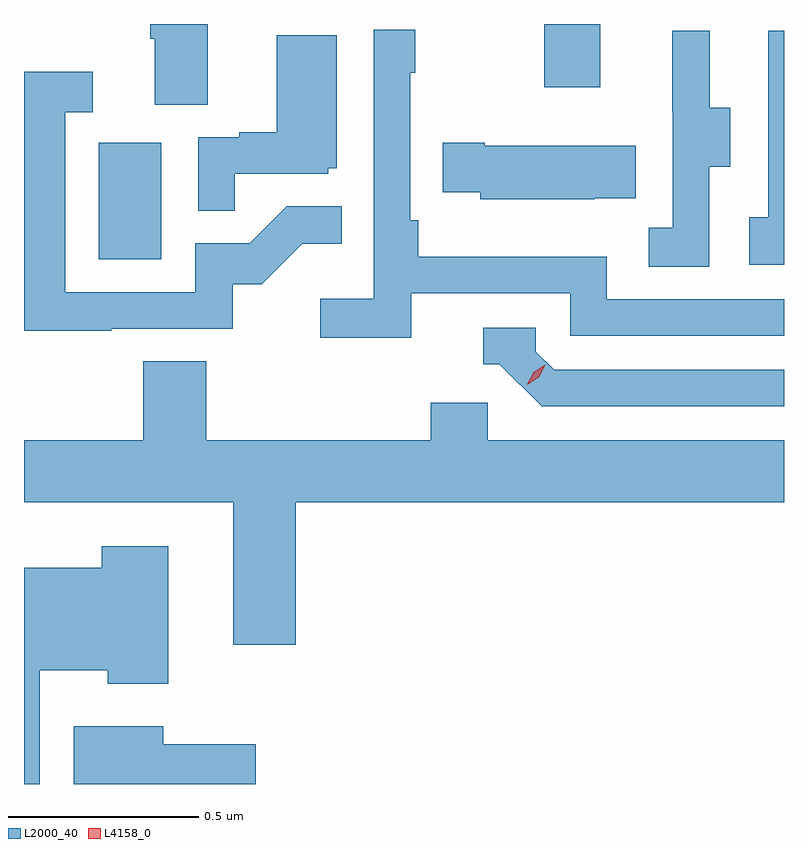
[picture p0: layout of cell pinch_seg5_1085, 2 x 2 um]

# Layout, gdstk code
import gdstk
lib = gdstk.Library(unit=1e-6, precision=1e-09)
def R(c, l, rs):  # rectangles x0, y0, x1, y1
    for r in rs: c.add(gdstk.rectangle(r[:2], r[2:], *l))
def P(c, l, *ps):  # polygons
    for p in ps: c.add(gdstk.Polygon(p, *l))
L2000_40 = (2000, 40)
L4158_0 = (4158, 0)

pinch_seg5_1085 = lib.new_cell('pinch_seg5_1085')
R(pinch_seg5_1085, L2000_40, [(847.97,861.396,848.134,861.703), (849.142,861.849,849.289,862.015)])
P(pinch_seg5_1085, L2000_40, [(848.257,862.015),(848.105,862.015),(848.105,861.976),(848.117,861.976),(848.117,861.802),(848.257,861.802)],
  [(848.792,861.306),(849.21,861.306),(849.21,861.195),(849.773,861.195),(849.773,861.291),(849.306,861.291),(849.306,861.403),(848.81,861.403),(848.81,861.499),(848.79,861.499),(848.79,861.887),(848.803,861.887),(848.803,862),(848.694,862),(848.694,861.292),(848.553,861.292),(848.553,861.19),(848.792,861.19)],
  [(849.773,861.997),(849.732,861.997),(849.732,861.506),(849.681,861.506),(849.681,861.381),(849.773,861.381)],
  [(849.576,861.64),(849.631,861.64),(849.631,861.795),(849.577,861.795),(849.577,861.997),(849.479,861.997),(849.479,861.783),(849.48,861.783),(849.48,861.479),(849.417,861.479),(849.417,861.376),(849.576,861.376)],
  [(848.327,861.621),(848.574,861.621),(848.574,861.636),(848.596,861.636),(848.596,861.985),(848.438,861.985),(848.438,861.73),(848.339,861.73),(848.339,861.717),(848.232,861.717),(848.232,861.523),(848.327,861.523)],
  [(848.003,861.213),(848.322,861.213),(848.322,861.33),(848.398,861.33),(848.505,861.437),(848.609,861.437),(848.609,861.536),(848.465,861.536),(848.367,861.438),(848.223,861.438),(848.223,861.309),(847.881,861.309),(847.881,861.783),(847.954,861.783),(847.954,861.889),(847.773,861.889),(847.773,861.208),(848.003,861.208)],
  [(849.275,861.557),(849.383,861.557),(849.383,861.694),(848.986,861.694),(848.986,861.702),(848.875,861.702),(848.875,861.572),(848.973,861.572),(848.973,861.554),(849.275,861.554)],
  [(849.773,861.105),(849.168,861.105),(849.12,861.153),(849.12,861.216),(848.981,861.216),(848.981,861.12),(849.024,861.12),(849.135,861.009),(849.773,861.009)],
  [(848.252,861.128),(848.087,861.128),(848.087,860.92),(847.773,860.92),(847.773,860.756),(848.324,860.756),(848.324,860.382),(848.488,860.382),(848.488,860.756),(849.773,860.756),(849.773,860.92),(848.994,860.92),(848.994,861.018),(848.843,861.018),(848.843,860.92),(848.252,860.92)],
  [(847.815,860.315),(847.994,860.315),(847.994,860.279),(848.152,860.279),(848.152,860.641),(847.977,860.641),(847.977,860.584),(847.773,860.584),(847.773,860.015),(847.815,860.015)],
  [(848.383,860.119),(848.14,860.119),(848.14,860.167),(847.904,860.167),(847.904,860.015),(848.383,860.015)])
P(pinch_seg5_1085, L4158_0, [(849.097,861.066),(849.097,861.067),(849.114,861.099),(849.145,861.118),(849.145,861.118),(849.145,861.118),(849.128,861.086),(849.097,861.066)])

lib.write_gds('pinch_seg5_1085.gds')
